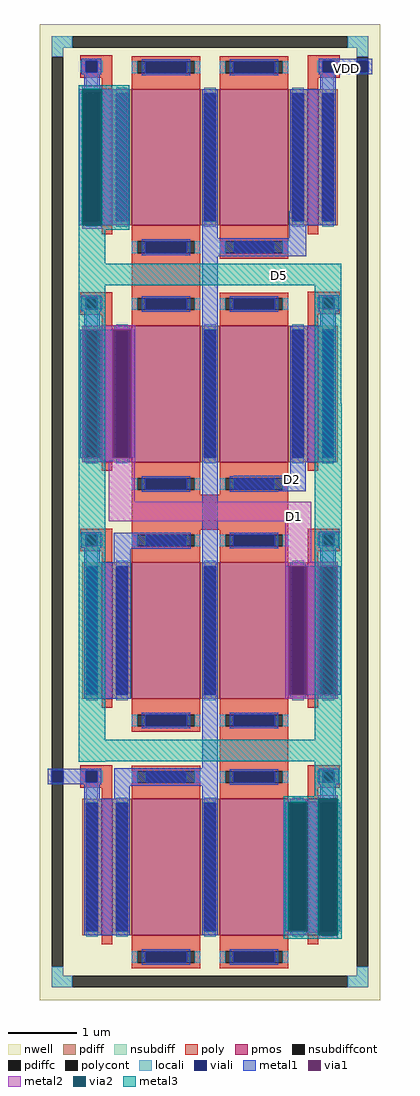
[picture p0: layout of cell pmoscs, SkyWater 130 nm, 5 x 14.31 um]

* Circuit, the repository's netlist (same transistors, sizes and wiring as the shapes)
** sch_path: /home/azrielshelomita/opamp/mag/pmoscs.sch
.subckt pmoscs D1 D2 D5 VDD
*.PININFO D1:B D2:B D5:B VDD:B
XM1 D1 D2 VDD VDD sky130_fd_pr__pfet_01v8 L=1 W=2 nf=1 m=2
XM2 D2 D2 VDD VDD sky130_fd_pr__pfet_01v8 L=1 W=2 nf=1 m=2
XM5 D5 D2 VDD VDD sky130_fd_pr__pfet_01v8 L=1 W=2 nf=1 m=2
XM3 VDD VDD VDD VDD sky130_fd_pr__pfet_01v8 L=1 W=2 nf=1 m=2
XM4 VDD VDD VDD VDD sky130_fd_pr__pfet_01v8 L=0.15 W=2 nf=1 m=2
XM6 D2 D2 D2 VDD sky130_fd_pr__pfet_01v8 L=0.15 W=2 nf=1 m=2
XM7 D1 D1 D1 VDD sky130_fd_pr__pfet_01v8 L=0.15 W=2 nf=1 m=2
XM8 D5 D5 D5 VDD sky130_fd_pr__pfet_01v8 L=0.15 W=2 nf=1 m=2
.ends
.end

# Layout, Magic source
magic
tech sky130A
magscale 1 2
<< nwell >>
rect -177 -90 823 2773
<< nsubdiff >>
rect -141 2703 -81 2737
rect 727 2703 787 2737
rect -141 2677 -107 2703
rect 753 2677 787 2703
rect -141 -19 -107 7
rect 753 -19 787 7
rect -141 -53 -81 -19
rect 727 -53 787 -19
<< nsubdiffcont >>
rect -81 2703 727 2737
rect -141 7 -107 2677
rect 753 7 787 2677
rect -81 -53 727 -19
<< poly >>
rect -58 2665 36 2681
rect -58 2631 -42 2665
rect -8 2631 36 2665
rect -58 2615 36 2631
rect 6 2608 36 2615
rect 610 2665 704 2681
rect 610 2631 654 2665
rect 688 2631 704 2665
rect 610 2615 704 2631
rect 610 2608 640 2615
rect -58 1970 36 1986
rect 94 1984 294 2086
rect -58 1936 -42 1970
rect -8 1936 36 1970
rect -58 1920 36 1936
rect 6 1913 36 1920
rect 610 1971 704 1987
rect 610 1937 654 1971
rect 688 1937 704 1971
rect 610 1921 704 1937
rect 610 1914 640 1921
rect -58 1276 36 1292
rect 94 1290 552 1392
rect -58 1242 -42 1276
rect -8 1242 36 1276
rect -58 1226 36 1242
rect 6 1219 36 1226
rect 610 1277 704 1293
rect 610 1243 654 1277
rect 688 1243 704 1277
rect 610 1227 704 1243
rect 610 1220 640 1227
rect -58 583 36 599
rect 352 596 552 698
rect -58 549 -42 583
rect -8 549 36 583
rect -58 533 36 549
rect 6 526 36 533
rect 610 583 704 599
rect 610 549 654 583
rect 688 549 704 583
rect 610 533 704 549
rect 610 526 640 533
<< polycont >>
rect -42 2631 -8 2665
rect 654 2631 688 2665
rect -42 1936 -8 1970
rect 654 1937 688 1971
rect -42 1242 -8 1276
rect 654 1243 688 1277
rect -42 549 -8 583
rect 654 549 688 583
<< locali >>
rect -141 2703 -81 2737
rect 727 2703 787 2737
rect -141 2677 -107 2703
rect 753 2677 787 2703
rect -58 2631 -42 2665
rect -8 2631 8 2665
rect 638 2631 654 2665
rect 688 2631 704 2665
rect -40 2576 -6 2631
rect 652 2584 686 2631
rect -58 1936 -42 1970
rect -8 1936 8 1970
rect 638 1937 654 1971
rect 688 1937 704 1971
rect -40 1881 -6 1936
rect 652 1884 686 1937
rect -58 1242 -42 1276
rect -8 1242 8 1276
rect 638 1243 654 1277
rect 688 1243 704 1277
rect -40 1186 -6 1242
rect 652 1188 686 1243
rect -58 549 -42 583
rect -8 549 8 583
rect 638 549 654 583
rect 688 549 704 583
rect -40 501 -6 549
rect 652 502 686 549
rect -141 -19 -107 7
rect 753 -19 787 7
rect -141 -53 -81 -19
rect 727 -53 787 -19
<< viali >>
rect -42 2631 -8 2665
rect 654 2631 688 2665
rect 753 2631 787 2665
rect -42 1936 -8 1970
rect 654 1937 688 1971
rect -42 1242 -8 1276
rect 654 1243 688 1277
rect -141 549 -107 583
rect -42 549 -8 583
rect 654 549 688 583
<< metal1 >>
rect -54 2665 4 2671
rect -54 2631 -42 2665
rect -8 2631 4 2665
rect -54 2625 4 2631
rect 642 2665 799 2671
rect 642 2631 654 2665
rect 688 2631 753 2665
rect 787 2631 799 2665
rect 642 2625 799 2631
rect -46 2582 0 2625
rect 646 2582 692 2625
rect -52 2572 86 2582
rect -60 2194 -50 2572
rect 2 2194 86 2572
rect -52 2182 86 2194
rect 300 2144 346 2582
rect 558 2224 692 2582
rect 556 2182 692 2224
rect 556 2144 606 2182
rect 300 2092 606 2144
rect -54 1970 4 1976
rect -54 1936 -42 1970
rect -8 1936 4 1970
rect -54 1930 4 1936
rect -46 1884 0 1930
rect -45 1881 0 1884
rect -58 1500 -48 1876
rect 4 1500 38 1876
rect 92 1500 102 1876
rect -6 1490 44 1500
rect -54 1276 4 1282
rect -54 1242 -42 1276
rect -8 1242 4 1276
rect -54 1236 4 1242
rect -46 1194 0 1236
rect 40 1234 266 1280
rect 40 1194 90 1234
rect -46 794 90 1194
rect 300 590 346 2092
rect 642 1971 700 1977
rect 642 1937 654 1971
rect 688 1937 700 1971
rect 642 1931 700 1937
rect 646 1888 692 1931
rect 558 1488 692 1888
rect 558 1448 604 1488
rect 392 1402 604 1448
rect 642 1277 700 1283
rect 642 1243 654 1277
rect 688 1243 700 1277
rect 642 1237 700 1243
rect 646 1187 692 1237
rect 544 806 554 1182
rect 608 806 644 1182
rect 696 806 706 1182
rect -153 583 4 589
rect -153 549 -141 583
rect -107 549 -42 583
rect -8 549 4 583
rect -153 543 4 549
rect -46 500 0 543
rect 42 538 346 590
rect 642 583 700 589
rect 642 549 654 583
rect 688 549 700 583
rect 642 543 700 549
rect 42 500 88 538
rect -46 100 88 500
rect 300 100 346 538
rect 646 498 692 543
rect 602 490 646 492
rect 544 112 554 490
rect 606 488 646 490
rect 606 112 643 488
rect 695 112 705 488
rect 602 108 646 112
<< via1 >>
rect -50 2194 2 2572
rect -48 1500 4 1876
rect 38 1500 92 1876
rect 554 806 608 1182
rect 644 806 696 1182
rect 554 112 606 490
rect 643 112 695 488
<< metal2 >>
rect -52 2582 6 2592
rect -62 2182 -52 2582
rect 6 2182 86 2582
rect -52 2172 6 2182
rect 38 1888 104 1890
rect -52 1876 104 1888
rect -52 1500 -48 1876
rect 4 1500 38 1876
rect 92 1500 104 1876
rect -52 1488 104 1500
rect 26 1372 102 1488
rect 26 1314 620 1372
rect 544 1196 620 1314
rect 544 1182 698 1196
rect 544 806 554 1182
rect 608 806 644 1182
rect 696 806 698 1182
rect 544 794 698 806
rect 640 500 698 510
rect 552 492 608 500
rect 552 490 640 492
rect 608 112 640 490
rect 552 108 640 112
rect 552 102 608 108
rect 640 90 698 100
<< via2 >>
rect -52 2572 6 2582
rect -52 2194 -50 2572
rect -50 2194 2 2572
rect 2 2194 6 2572
rect -52 2182 6 2194
rect 552 112 554 490
rect 554 112 606 490
rect 606 112 608 490
rect 640 488 698 500
rect 640 112 643 488
rect 643 112 695 488
rect 695 112 698 488
rect 640 100 698 112
<< metal3 >>
rect -62 2582 86 2594
rect -62 2182 -52 2582
rect 6 2182 86 2582
rect -62 2170 86 2182
rect -62 2070 16 2170
rect -62 2006 708 2070
rect -62 674 16 2006
rect 630 1659 708 2006
rect 630 674 709 1659
rect -62 610 709 674
rect -62 609 16 610
rect 630 508 709 610
rect 540 500 709 508
rect 540 490 640 500
rect 540 112 552 490
rect 608 112 640 490
rect 540 100 640 112
rect 698 100 709 500
rect 540 90 709 100
rect 631 89 709 90
use sky130_fd_pr__pfet_01v8_2ZH9AN  sky130_fd_pr__pfet_01v8_2ZH9AN_0
transform 1 0 625 0 1 1688
box -109 -262 109 262
use sky130_fd_pr__pfet_01v8_2ZH9AN  sky130_fd_pr__pfet_01v8_2ZH9AN_1
transform 1 0 21 0 1 300
box -109 -262 109 262
use sky130_fd_pr__pfet_01v8_2ZH9AN  sky130_fd_pr__pfet_01v8_2ZH9AN_2
transform 1 0 625 0 1 300
box -109 -262 109 262
use sky130_fd_pr__pfet_01v8_2ZH9AN  sky130_fd_pr__pfet_01v8_2ZH9AN_3
transform 1 0 21 0 1 994
box -109 -262 109 262
use sky130_fd_pr__pfet_01v8_2ZH9AN  sky130_fd_pr__pfet_01v8_2ZH9AN_4
transform 1 0 625 0 1 994
box -109 -262 109 262
use sky130_fd_pr__pfet_01v8_2ZH9AN  sky130_fd_pr__pfet_01v8_2ZH9AN_5
transform 1 0 21 0 1 1688
box -109 -262 109 262
use sky130_fd_pr__pfet_01v8_2ZH9AN  sky130_fd_pr__pfet_01v8_2ZH9AN_6
transform 1 0 625 0 1 2382
box -109 -262 109 262
use sky130_fd_pr__pfet_01v8_2ZH9AN  sky130_fd_pr__pfet_01v8_2ZH9AN_7
transform 1 0 21 0 1 2382
box -109 -262 109 262
use sky130_fd_pr__pfet_01v8_SDE6B7  sky130_fd_pr__pfet_01v8_SDE6B7_0
transform 1 0 323 0 1 2382
box -323 -300 323 300
use sky130_fd_pr__pfet_01v8_SDE6B7  sky130_fd_pr__pfet_01v8_SDE6B7_1
transform 1 0 323 0 1 1688
box -323 -300 323 300
use sky130_fd_pr__pfet_01v8_SDE6B7  sky130_fd_pr__pfet_01v8_SDE6B7_2
transform 1 0 323 0 1 994
box -323 -300 323 300
use sky130_fd_pr__pfet_01v8_SDE6B7  sky130_fd_pr__pfet_01v8_SDE6B7_3
transform 1 0 323 0 1 300
box -323 -300 323 300
<< labels >>
flabel metal1 722 2641 722 2641 0 FreeSans 160 0 0 0 VDD
port 0 nsew
flabel metal3 524 2035 530 2035 0 FreeSans 160 0 0 0 D5
port 1 nsew
flabel metal2 570 1327 570 1327 0 FreeSans 160 0 0 0 D1
port 2 nsew
flabel metal1 566 1436 566 1436 0 FreeSans 160 0 0 0 D2
port 3 nsew
<< end >>

# cell sky130_fd_pr__pfet_01v8_2ZH9AN: kit device sky130_fd_pr__pfet_01v8, w 2 l 0.15 m 1 nf 1 diffcov 100 polycov 100 guard 0 glc 1 grc 1 gtc 1 gbc 1 tbcov 100 rlcov 100 topc 0 botc 0 poverlap 0 doverlap 1 lmin 0.15 wmin 0.42 compatible {sky130_fd_pr__pfet_01v8 sky130_fd_pr__pfet_01v8_lvt sky130_fd_pr__pfet_01v8_hvt sky130_fd_pr__pfet_g5v0d10v5} full_metal 1 viasrc 100 viadrn 100 viagate 100 viagb 0 viagr 0 viagl 0 viagt 0

# cell sky130_fd_pr__pfet_01v8_SDE6B7: kit device sky130_fd_pr__pfet_01v8, w 2 l 1 m 1 nf 2 diffcov 100 polycov 100 guard 0 glc 1 grc 1 gtc 1 gbc 1 tbcov 100 rlcov 100 topc 1 botc 1 poverlap 0 doverlap 1 lmin 0.15 wmin 0.42 compatible {sky130_fd_pr__pfet_01v8 sky130_fd_pr__pfet_01v8_lvt sky130_fd_pr__pfet_01v8_hvt sky130_fd_pr__pfet_g5v0d10v5} full_metal 1 viasrc 100 viadrn 100 viagate 70 viagb 0 viagr 0 viagl 0 viagt 0
